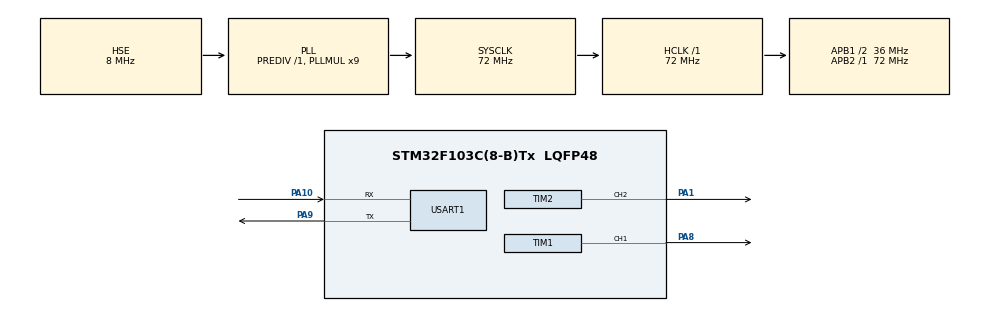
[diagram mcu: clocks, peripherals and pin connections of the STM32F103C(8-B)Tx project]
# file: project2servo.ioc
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Dma.Request0=TIM1_CH1
Dma.Request1=TIM2_CH2/CH4
Dma.TIM1_CH1.0.Direction=DMA_MEMORY_TO_PERIPH
Dma.TIM1_CH1.0.Instance=DMA1_Channel2
Dma.TIM1_CH1.0.MemDataAlignment=DMA_MDATAALIGN_HALFWORD
Dma.TIM1_CH1.0.MemInc=DMA_MINC_ENABLE
Dma.TIM1_CH1.0.Mode=DMA_NORMAL
Dma.TIM1_CH1.0.PeriphDataAlignment=DMA_PDATAALIGN_HALFWORD
Dma.TIM1_CH1.0.PeriphInc=DMA_PINC_DISABLE
Dma.TIM1_CH1.0.Priority=DMA_PRIORITY_LOW
Dma.TIM2_CH2/CH4.1.Direction=DMA_MEMORY_TO_PERIPH
Dma.TIM2_CH2/CH4.1.Instance=DMA1_Channel7
Dma.TIM2_CH2/CH4.1.MemDataAlignment=DMA_MDATAALIGN_HALFWORD
Dma.TIM2_CH2/CH4.1.MemInc=DMA_MINC_ENABLE
Dma.TIM2_CH2/CH4.1.Mode=DMA_NORMAL
Dma.TIM2_CH2/CH4.1.PeriphDataAlignment=DMA_PDATAALIGN_HALFWORD
Dma.TIM2_CH2/CH4.1.PeriphInc=DMA_PINC_DISABLE
Dma.TIM2_CH2/CH4.1.Priority=DMA_PRIORITY_LOW
Mcu.Family=STM32F1
Mcu.Name=STM32F103C(8-B)Tx
Mcu.Package=LQFP48
NVIC.DMA1_Channel2_IRQn=true\:0\:0\:false\:false\:true\:false\:true\:true
NVIC.DMA1_Channel7_IRQn=true\:0\:0\:false\:false\:true\:false\:true\:true
NVIC.PriorityGroup=NVIC_PRIORITYGROUP_4
NVIC.USART1_IRQn=true\:0\:0\:false\:false\:true\:true\:true\:true
PA1.Signal=S_TIM2_CH2
PA10.Mode=Asynchronous
PA10.Signal=USART1_RX
PA13.Mode=Serial_Wire
PA13.Signal=SYS_JTMS-SWDIO
PA14.Mode=Serial_Wire
PA14.Signal=SYS_JTCK-SWCLK
PA8.Signal=S_TIM1_CH1
PA9.Mode=Asynchronous
PA9.Signal=USART1_TX
PD0-OSC_IN.Mode=HSE-External-Oscillator
PD0-OSC_IN.Signal=RCC_OSC_IN
PD1-OSC_OUT.Mode=HSE-External-Oscillator
PD1-OSC_OUT.Signal=RCC_OSC_OUT
ProjectManager.HeapSize=0x200
ProjectManager.StackSize=0x400
ProjectManager.TargetToolchain=Makefile
RCC.AHBFreq_Value=72000000
RCC.APB1CLKDivider=RCC_HCLK_DIV2
RCC.APB1Freq_Value=36000000
RCC.APB1TimFreq_Value=72000000
RCC.APB2Freq_Value=72000000
RCC.APB2TimFreq_Value=72000000
RCC.HCLKFreq_Value=72000000
RCC.PLLMUL=RCC_PLL_MUL9
RCC.PLLSourceVirtual=RCC_PLLSOURCE_HSE
RCC.SYSCLKFreq_VALUE=72000000
RCC.SYSCLKSource=RCC_SYSCLKSOURCE_PLLCLK
RCC.USBFreq_Value=72000000
SH.S_TIM1_CH1.0=TIM1_CH1,PWM Generation1 CH1
SH.S_TIM2_CH2.0=TIM2_CH2,PWM Generation2 CH2
TIM1.Channel-PWM\ Generation1\ CH1=TIM_CHANNEL_1
TIM1.Period=1000-1
TIM1.Prescaler=1440-1
TIM2.Channel-PWM\ Generation2\ CH2=TIM_CHANNEL_2
TIM2.Period=1000-1
TIM2.Prescaler=1440-1
USART1.VirtualMode=VM_ASYNC
VP_TIM1_VS_ClockSourceINT.Mode=Internal
VP_TIM2_VS_ClockSourceINT.Mode=Internal
board=custom

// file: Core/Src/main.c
/* USER CODE BEGIN Header */
/**
 ******************************************************************************
 * @file           : main.c
 * @brief          : Main program body
 ******************************************************************************
 * @attention
 *
 * Copyright (c) 2023 STMicroelectronics.
 * All rights reserved.
 *
 * This software is licensed under terms that can be found in the LICENSE file
 * in the root directory of this software component.
 * If no LICENSE file comes with this software, it is provided AS-IS.
 *
 ******************************************************************************
 */
/* USER CODE END Header */
#include "main.h"
#include "dma.h"
#include "tim.h"
#include "usart.h"
#include "gpio.h"

/* USER CODE BEGIN Includes */
#include <string.h>
#include <stdio.h>
#include <stdlib.h>
/* USER CODE END Includes */

/* USER CODE BEGIN PV */
char rota1[20] = {0};
char rota2[20] = {0};
int PC_rota1 = 0;
int PC_rota2 = 45;
// int a = 25;
// int b = 60;
// int PC_rota1 = 0;
// int PC_rota2 = 60;
enum
{
  Mode_auto,
  Mode_manual
};

volatile int Mode = Mode_auto;

uint8_t Rx_data;
char buffer_data[50] = {0};
volatile int Rx_index = 0;
volatile int Rx_complete = 0;
/* USER CODE END PV */

void SystemClock_Config(void);

/* USER CODE BEGIN 0 */

void log_data(char *buf)
{
  HAL_UART_Transmit(&huart1, (uint8_t *)buf, strlen(buf), 100);
}

void HAL_UART_RxCpltCallback(UART_HandleTypeDef *huart)
{
  if (huart == &huart1)
  {
    if (Rx_data == 13)
    {
      buffer_data[Rx_index] = '\0';
      Rx_index = 0;
      Rx_complete = 1;
      if (strcmp(buffer_data, "manual") == 0)
      {
        Mode = Mode_manual;
      }

      if (strcmp(buffer_data, "auto") == 0)
      {
        Mode = Mode_auto;
      }
    }
    else
    {
      buffer_data[Rx_index] = (char)Rx_data;
      Rx_index++;
      // log_data((char*)Rx_data);
    }
    HAL_UART_Receive_IT(&huart1, &Rx_data, 1);
  }
}
/* USER CODE END 0 */

int main(void)
{

  /* MCU Configuration--------------------------------------------------------*/

  /* Reset of all peripherals, Initializes the Flash interface and the Systick. */
  HAL_Init();

  /* Configure the system clock */
  SystemClock_Config();

  /* Initialize all configured peripherals */
  MX_GPIO_Init();
  MX_DMA_Init();
  MX_TIM1_Init();
  MX_TIM2_Init();
  MX_USART1_UART_Init();
  /* USER CODE BEGIN 2 */
  HAL_TIM_PWM_Start(&htim1, TIM_CHANNEL_1);
  HAL_TIM_PWM_Start(&htim2, TIM_CHANNEL_2);
  log_data("duma");
  HAL_UART_Receive_IT(&huart1, &Rx_data, 1);
  /* USER CODE END 2 */

  /* Infinite loop */
  while (1)
  {

    /* USER CODE BEGIN 3 */
    switch (Mode)
    {
    case Mode_auto:
      // if (strcmp(buffer_data, "stop") == 0)
      // {
      //   TIM1->CCR1 = a;
      //   TIM2->CCR2 = b;
      //   break;
      // }
      while (PC_rota1 <= 180)
      {
        if (strcmp(buffer_data, "stop") == 0)
        {
          TIM1->CCR1 = (int)((PC_rota1 + 45) / 1.8);
          TIM2->CCR2 = (int)((PC_rota2 + 45) / 1.8);
          HAL_Delay(100);
          break;
        }
        TIM1->CCR1 = (int)((PC_rota1 + 45) / 1.8);
        TIM2->CCR2 = (int)((PC_rota2 + 45) / 1.8);
        HAL_Delay(10);
        PC_rota1++;
        if (PC_rota1 > 180)
        {
          PC_rota2 += 10;
          break;
        }
      }

      while (PC_rota1 >= 0)
      {
        if (strcmp(buffer_data, "stop") == 0)
        {
          TIM1->CCR1 = (int)((PC_rota1 + 45) / 1.8);
          TIM2->CCR2 = (int)((PC_rota2 + 45) / 1.8);
          HAL_Delay(100);
          break;
        }
        TIM1->CCR1 = (int)((PC_rota1 + 45) / 1.8);
        TIM2->CCR2 = (int)((PC_rota2 + 45) / 1.8);
        HAL_Delay(10);
        PC_rota1 -= 1;
        if (PC_rota1 < 0)
        {
          PC_rota2 += 10;
          break;
        }
      }
      if (PC_rota2 >= 135)
        PC_rota2 = 45;
      //   if (strcmp(buffer_data, "stop") == 0) {
      //     break;
      // }

    case Mode_manual:
      // if (strcmp(buffer_data, "stop") == 0)
      // {
      //   TIM1->CCR1 = a;
      //   TIM2->CCR2 = b;
      // }
      if (Rx_complete)
      {
        Rx_complete = 0;
        log_data("\noke");
        // if (strcmp(buffer_data, "30") == 0)
        // {
        // Parse string
        // sscanf(buffer_data, "%*[^0-9]%d", &PC_rota);

        // char *token = strtok(buffer_data, "&");
        int PC_rota1 = atoi(strtok(buffer_data, "&"));

        int PC_rota2 = atoi(strtok(NULL, "/"));
        // control Servo
        TIM1->CCR1 = (int)((PC_rota1 + 45) / 1.8);
        // sprintf(rota1, "Rota: %d  ", PC_rota1);
        HAL_Delay(100);
        TIM2->CCR2 = (int)((PC_rota2 + 45) / 1.8);
        // sprintf(rota2, "Rota: %d  ", PC_rota2);
        // memset(buffer_data, '\0', sizeof(buffer_data));
      }
    }
  }
  /* USER CODE END 3 */
}

void SystemClock_Config(void)
{
  RCC_OscInitTypeDef RCC_OscInitStruct = {0};
  RCC_ClkInitTypeDef RCC_ClkInitStruct = {0};

  /** Initializes the RCC Oscillators according to the specified parameters
   * in the RCC_OscInitTypeDef structure.
   */
  RCC_OscInitStruct.OscillatorType = RCC_OSCILLATORTYPE_HSE;
  RCC_OscInitStruct.HSEState = RCC_HSE_ON;
  RCC_OscInitStruct.HSEPredivValue = RCC_HSE_PREDIV_DIV1;
  RCC_OscInitStruct.HSIState = RCC_HSI_ON;
  RCC_OscInitStruct.PLL.PLLState = RCC_PLL_ON;
  RCC_OscInitStruct.PLL.PLLSource = RCC_PLLSOURCE_HSE;
  RCC_OscInitStruct.PLL.PLLMUL = RCC_PLL_MUL9;
  if (HAL_RCC_OscConfig(&RCC_OscInitStruct) != HAL_OK)
  {
    Error_Handler();
  }

  /** Initializes the CPU, AHB and APB buses clocks
   */
  RCC_ClkInitStruct.ClockType = RCC_CLOCKTYPE_HCLK | RCC_CLOCKTYPE_SYSCLK | RCC_CLOCKTYPE_PCLK1 | RCC_CLOCKTYPE_PCLK2;
  RCC_ClkInitStruct.SYSCLKSource = RCC_SYSCLKSOURCE_PLLCLK;
  RCC_ClkInitStruct.AHBCLKDivider = RCC_SYSCLK_DIV1;
  RCC_ClkInitStruct.APB1CLKDivider = RCC_HCLK_DIV2;
  RCC_ClkInitStruct.APB2CLKDivider = RCC_HCLK_DIV1;

  if (HAL_RCC_ClockConfig(&RCC_ClkInitStruct, FLASH_LATENCY_2) != HAL_OK)
  {
    Error_Handler();
  }
}

void Error_Handler(void)
{
  __disable_irq();
  while (1)
  {
  }
}
